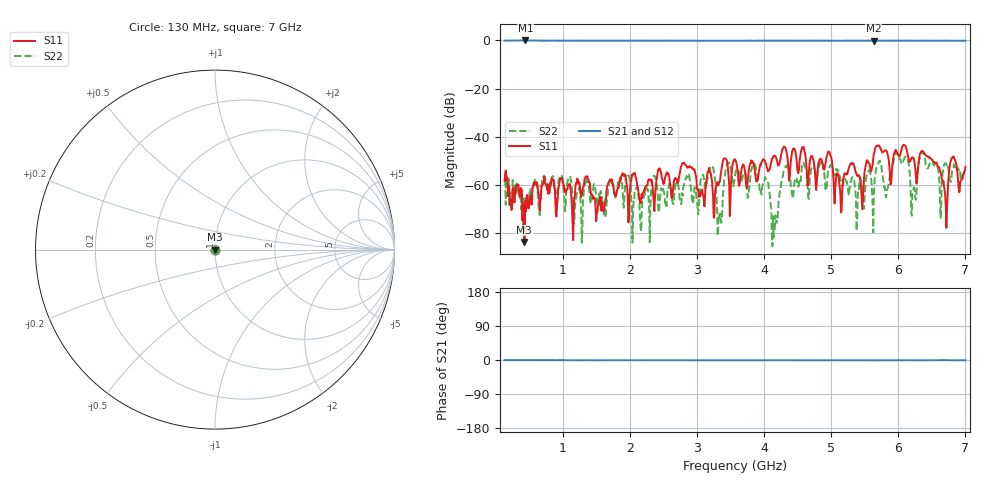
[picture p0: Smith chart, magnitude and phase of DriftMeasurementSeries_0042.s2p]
# Hz S RI R 50.000000
! Metas.Vna.Tools, 2.8.8664.20301
! Metas.Vna.Data, 2.8.8664.20285
! Created: UTC 2024.02.11 10:08:20
! FREQ  re:S1,1  im:S1,1  re:S2,1  im:S2,1  re:S1,2  im:S1,2  re:S2,2  im:S2,2
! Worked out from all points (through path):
!   801 points, 130 MHz to 7 GHz, reference 50 ohm
!   highest |S21| = -0.03 dB at 439.1 MHz (marker M1); lowest = -0.2 dB at 5.635 GHz (marker M2)
!   lowest |S11| = -83.6 dB at 422 MHz (marker M3), VSWR 1.00, Z = 50 - j0.000157 ohm
!   |S11| at or under -10 dB: start of sweep to end of sweep
!   |S22| runs from -85.4 to -46.0 dB; largest |S21 - S12| = 0.02
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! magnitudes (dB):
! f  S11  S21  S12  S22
! 130 MHz  -58.3  -0.1  0.0  -58.1
! 422 MHz  -83.6  0.0  0.0  -66.1
! 439.1 MHz  -66.8  0.0  0.0  -65.6
! 1.281 GHz  -64.2  -0.1  0.0  -83.9
! 2.423 GHz  -53.6  -0.1  0.0  -71.4
! 3.213 GHz  -56.8  -0.1  0.0  -52.0
! 3.333 GHz  -58.7  -0.2  0.0  -73.4
! 3.445 GHz  -50.0  -0.1  0.0  -51.8
! 3.565 GHz  -49.3  -0.1  0.0  -56.1
! 4.029 GHz  -51.1  -0.1  0.0  -57.9
! 4.149 GHz  -48.1  -0.1  0.0  -78.4
! 4.321 GHz  -44.8  -0.1  0.0  -52.1
! 4.716 GHz  -48.0  -0.1  0.0  -52.2
! 5.154 GHz  -70.6  -0.2  0.0  -59.0
! 5.635 GHz  -47.3  -0.2  0.0  -65.2
! 5.858 GHz  -49.8  -0.1  0.0  -59.5
! 6.115 GHz  -44.5  -0.1  0.0  -48.2
! 6.227 GHz  -48.9  -0.1  0.0  -61.3
! 6.373 GHz  -46.1  -0.1  0.0  -47.1
! 6.708 GHz  -69.2  -0.1  0.0  -51.0
! 6.802 GHz  -48.8  -0.1  0.0  -53.6
! 7 GHz  -52.5  -0.1  0.0  -54.4
